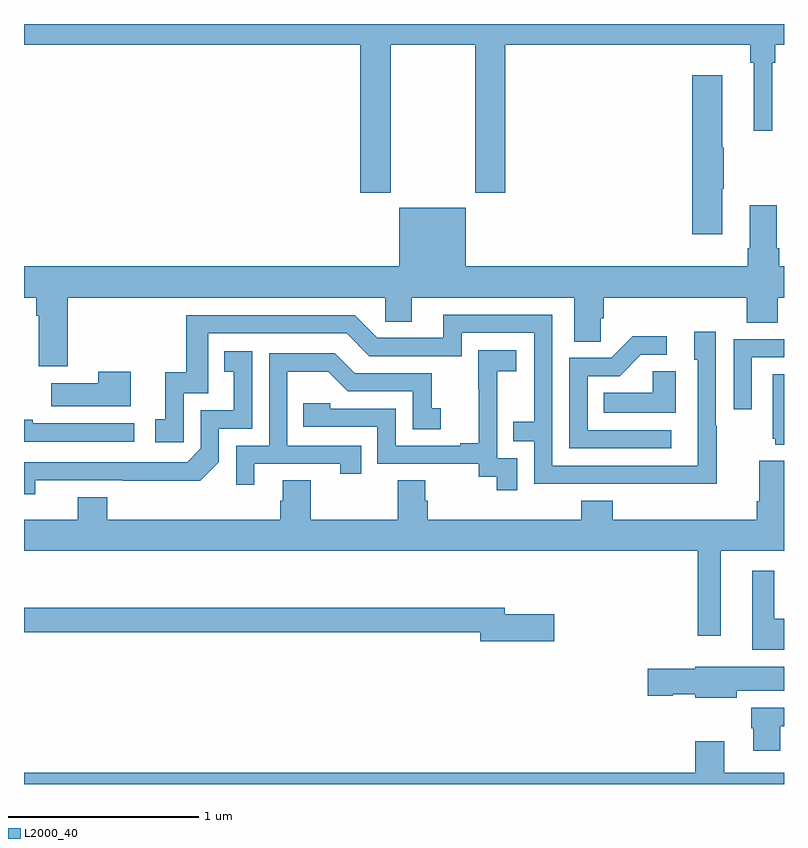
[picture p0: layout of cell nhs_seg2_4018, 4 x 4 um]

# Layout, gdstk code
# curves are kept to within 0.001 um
import gdstk
lib = gdstk.Library(unit=1e-6, precision=1e-09)
def P(c, l, *ps):  # polygons
    for p in ps: c.add(gdstk.Polygon(p, *l))
L2000_40 = (2000, 40)

nhs_seg2_4018 = lib.new_cell('nhs_seg2_4018')
P(nhs_seg2_4018, L2000_40, [(328.929,591.692),(329.374,591.692),(329.374,590.913),(329.534,590.913),(329.534,591.692),(330.823,591.692),(330.823,591.596),(330.842,591.596),(330.842,591.237),(330.939,591.237),(330.939,591.596),(330.953,591.596),(330.953,591.692),(331,591.692),(331,591.8),(327,591.8),(327,591.692),(328.769,591.692),(328.769,590.913),(328.929,590.913)],
  [(330.676,590.932),(330.684,590.932),(330.684,591.149),(330.676,591.149),(330.676,591.529),(330.518,591.529),(330.518,590.694),(330.676,590.694)],
  [(327,590.36),(327.065,590.36),(327.065,590.264),(327.077,590.264),(327.077,589.998),(327.23,589.998),(327.23,590.36),(328.902,590.36),(328.902,590.233),(329.041,590.233),(329.041,590.36),(329.897,590.36),(329.897,590.128),(330.036,590.128),(330.036,590.251),(330.05,590.251),(330.05,590.36),(330.803,590.36),(330.803,590.227),(330.968,590.227),(330.968,590.36),(331,590.36),(331,590.524),(330.974,590.524),(330.974,590.62),(330.961,590.62),(330.961,590.845),(330.821,590.845),(330.821,590.62),(330.809,590.62),(330.809,590.524),(329.326,590.524),(329.326,590.833),(328.976,590.833),(328.976,590.524),(327,590.524)],
  [(330.645,589.685),(330.642,589.685),(330.642,590.179),(330.527,590.179),(330.527,590.034),(330.546,590.034),(330.546,589.476),(329.781,589.476),(329.781,590.271),(329.207,590.271),(329.207,590.148),(328.86,590.148),(328.74,590.268),(327.853,590.268),(327.853,589.966),(327.743,589.966),(327.743,589.719),(327.69,589.719),(327.69,589.599),(327.84,589.599),(327.84,589.857),(327.969,589.857),(327.969,590.172),(328.698,590.172),(328.818,590.052),(329.304,590.052),(329.304,590.175),(329.685,590.175),(329.685,589.706),(329.575,589.706),(329.575,589.605),(329.685,589.605),(329.685,589.38),(330.645,589.379)],
  [(330.406,589.662),(329.967,589.662),(329.967,589.947),(330.136,589.947),(330.247,590.058),(330.382,590.058),(330.382,590.156),(330.203,590.156),(330.09,590.043),(329.871,590.043),(329.871,589.566),(330.406,589.566)],
  [(330.831,590.046),(331,590.046),(331,590.142),(330.735,590.142),(330.735,589.773),(330.831,589.773)],
  [(329.595,589.515),(329.49,589.515),(329.49,589.745),(329.492,589.745),(329.492,589.973),(329.59,589.973),(329.59,590.083),(329.392,590.083),(329.392,589.877),(329.393,589.877),(329.393,589.594),(329.297,589.594),(329.297,589.581),(328.956,589.581),(328.956,589.776),(328.611,589.776),(328.611,589.803),(328.471,589.803),(328.471,589.68),(328.86,589.68),(328.86,589.485),(329.394,589.485),(329.394,589.417),(329.487,589.417),(329.487,589.347),(329.595,589.347)],
  [(327.06,589.398),(327.928,589.397),(328.026,589.494),(328.026,589.671),(328.2,589.671),(328.2,590.077),(328.054,590.077),(328.054,589.971),(328.103,589.971),(328.103,589.767),(327.93,589.767),(327.93,589.566),(327.858,589.494),(327,589.494),(327,589.325),(327.06,589.325)],
  [(328.213,589.485),(328.664,589.485),(328.664,589.434),(328.775,589.434),(328.775,589.581),(328.386,589.581),(328.386,589.97),(328.6,589.97),(328.704,589.866),(329.046,589.866),(329.046,589.668),(329.194,589.668),(329.194,589.777),(329.145,589.777),(329.145,589.962),(328.741,589.962),(328.636,590.067),(328.29,590.067),(328.29,589.581),(328.116,589.581),(328.116,589.374),(328.213,589.374)],
  [(330.43,589.973),(330.309,589.973),(330.309,589.858),(330.052,589.858),(330.052,589.754),(330.43,589.754)],
  [(327.562,589.969),(327.392,589.969),(327.392,589.909),(327.143,589.909),(327.143,589.787),(327.562,589.787)],
  [(331,589.957),(330.941,589.957),(330.941,589.617),(330.953,589.617),(330.953,589.586),(331,589.586)],
  [(327.58,589.698),(327.047,589.698),(327.047,589.718),(327,589.718),(327,589.602),(327.58,589.602)],
  [(330.546,588.579),(330.667,588.579),(330.667,589.028),(331,589.028),(331,589.501),(330.869,589.501),(330.869,589.288),(330.857,589.288),(330.857,589.192),(330.098,589.192),(330.098,589.291),(329.933,589.291),(329.933,589.192),(329.126,589.192),(329.126,589.29),(329.113,589.29),(329.113,589.4),(328.966,589.4),(328.966,589.192),(328.509,589.192),(328.509,589.4),(328.361,589.4),(328.361,589.29),(328.349,589.29),(328.349,589.192),(327.437,589.192),(327.437,589.309),(327.284,589.309),(327.284,589.192),(327,589.192),(327,589.028),(330.546,589.028)],
  [(331,588.67),(330.949,588.67),(330.949,588.922),(330.833,588.922),(330.833,588.506),(331,588.506)],
  [(329.791,588.693),(329.53,588.693),(329.53,588.727),(327,588.727),(327,588.598),(329.402,588.598),(329.402,588.551),(329.791,588.551)],
  [(330.751,588.29),(331,588.29),(331,588.418),(330.534,588.418),(330.534,588.407),(330.282,588.407),(330.282,588.265),(330.414,588.265),(330.414,588.272),(330.534,588.272),(330.534,588.254),(330.751,588.254)],
  [(330.979,588.105),(331,588.105),(331,588.201),(330.827,588.201),(330.827,588.093),(330.839,588.093),(330.839,587.976),(330.979,587.976)],
  [(331,587.86),(330.685,587.86),(330.685,588.025),(330.533,588.025),(330.533,587.86),(327,587.86),(327,587.8),(331,587.8)])

lib.write_gds('nhs_seg2_4018.gds')
